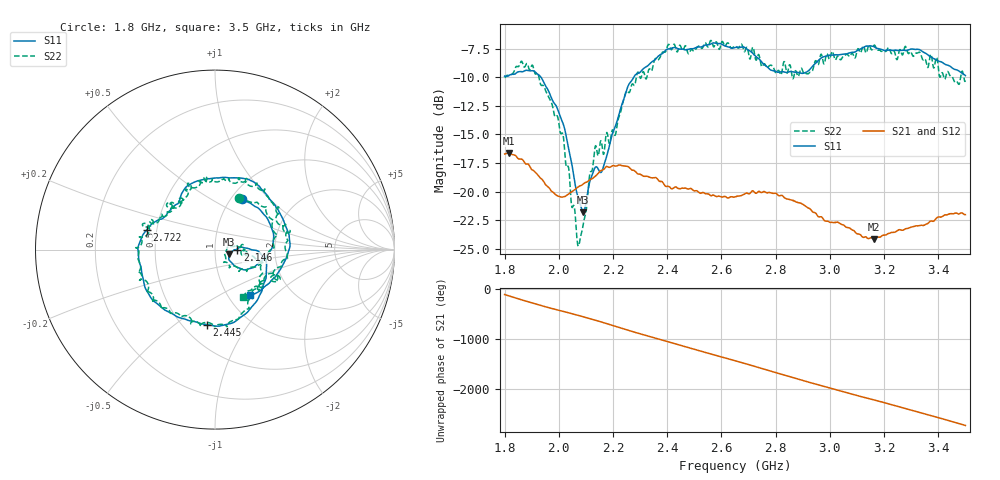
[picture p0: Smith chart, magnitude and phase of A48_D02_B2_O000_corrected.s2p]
! Created with skrf 1.9.0 (http://scikit-rf.org).
# Hz S RI R 50.0
!freq ReS11 ImS11 ReS21 ImS21 ReS12 ImS12 ReS22 ImS22
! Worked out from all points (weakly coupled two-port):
!   1601 points, 1.8 GHz to 3.5 GHz, reference 50 ohm
!   highest |S21| = -16.64 dB at 1.816 GHz (marker M1); lowest = -24.2 dB at 3.163 GHz (marker M2)
!   lowest |S11| = -21.8 dB at 2.09 GHz (marker M3), VSWR 1.18, Z = 58.3 - j2.99 ohm
!   |S11| at or under -10 dB: 1.935 GHz to 2.276 GHz (341.9 MHz wide, 16.2 % of centre)
!   |S22| runs from -24.8 to -6.8 dB; largest |S21 - S12| = 0.0025
!   S11 on the Smith chart (normalised r, x): 1.8 GHz: 1.12, +0.70; 2.146 GHz: 1.28, -0.00; 2.445 GHz: 0.65, -0.66; 2.722 GHz: 0.44, +0.12; 3.5 GHz: 1.26, -0.72
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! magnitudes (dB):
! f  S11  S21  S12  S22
! 1.8 GHz  -9.9  -16.7  -16.7  -10.0
! 1.816 GHz  -9.8  -16.6  -16.6  -9.9
! 1.902 GHz  -9.4  -18.1  -18.1  -8.9
! 1.966 GHz  -11.4  -19.7  -19.8  -11.9
! 2.014 GHz  -13.9  -20.5  -20.5  -14.9
! 2.07 GHz  -20.4  -19.6  -19.6  -24.7
! 2.084 GHz  -21.5  -19.5  -19.4  -23.6
! 2.09 GHz  -21.8  -19.3  -19.4  -22.9
! 2.129 GHz  -18.1  -18.8  -18.8  -16.9
! 2.146 GHz  -18.1  -18.4  -18.4  -16.8
! 2.209 GHz  -14.3  -17.8  -17.7  -15.0
! 2.259 GHz  -10.6  -17.9  -17.9  -11.3
! 2.367 GHz  -8.1  -19.0  -19.0  -8.5
! 2.445 GHz  -7.5  -19.7  -19.7  -7.2
! 2.65 GHz  -7.4  -20.5  -20.4  -7.3
! 2.722 GHz  -8.1  -20.1  -20.0  -8.0
! 2.807 GHz  -9.6  -20.3  -20.3  -9.5
! 2.934 GHz  -9.1  -21.7  -21.7  -9.5
! 3.163 GHz  -7.3  -24.2  -24.1  -7.2
! 3.217 GHz  -7.6  -23.7  -23.6  -7.4
! 3.329 GHz  -7.6  -23.0  -23.0  -7.8
! 3.5 GHz  -9.9  -22.0  -22.0  -10.3
